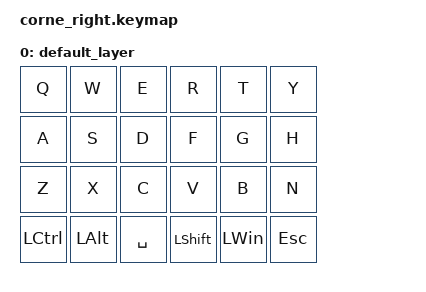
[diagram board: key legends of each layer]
#include <dt-bindings/zmk/keys.h>

/ {
    keymap {
        compatible = "zmk,keymap";
        default_layer {
            bindings = <
                &kp Q &kp W &kp E &kp R &kp T &kp Y
                &kp A &kp S &kp D &kp F &kp G &kp H
                &kp Z &kp X &kp C &kp V &kp B &kp N
                &kp LCTRL &kp LALT &kp SPACE &kp LSHIFT &kp LWIN &kp ESC
            >;
        };
    };
};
